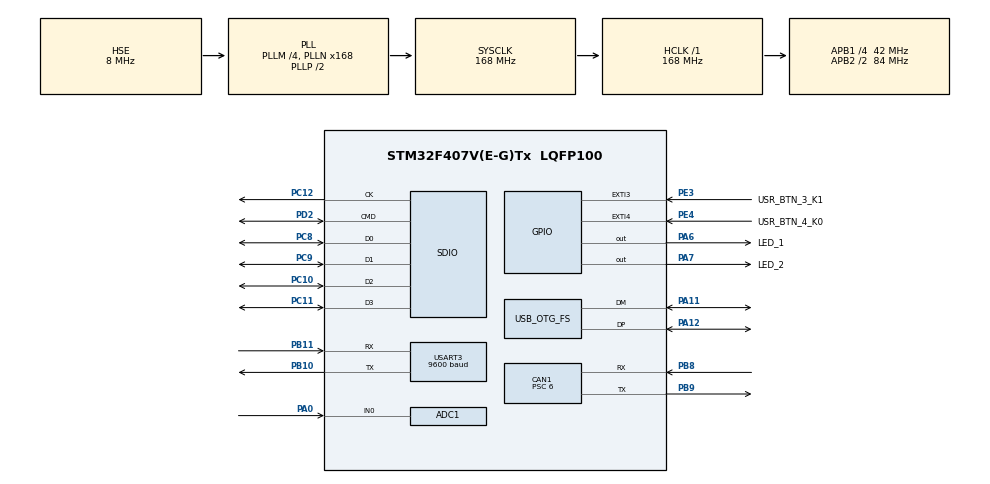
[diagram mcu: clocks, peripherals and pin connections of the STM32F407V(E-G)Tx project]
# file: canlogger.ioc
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ADC1.Channel-0\#ChannelRegularConversion=ADC_CHANNEL_0
ADC1.NbrOfConversionFlag=1
ADC1.Rank-0\#ChannelRegularConversion=1
ADC1.SamplingTime-0\#ChannelRegularConversion=ADC_SAMPLETIME_3CYCLES
ADC1.master=1
CAN1.BS1=CAN_BS1_6TQ
CAN1.BS2=CAN_BS2_7TQ
CAN1.CalculateBaudRate=500000
CAN1.CalculateTimeBit=2000
CAN1.CalculateTimeQuantum=142.85714285714286
CAN1.Prescaler=6
Dma.Request0=SDIO_RX
Dma.Request1=SDIO_TX
Dma.Request2=USART3_RX
Dma.SDIO_RX.0.Direction=DMA_PERIPH_TO_MEMORY
Dma.SDIO_RX.0.FIFOMode=DMA_FIFOMODE_ENABLE
Dma.SDIO_RX.0.FIFOThreshold=DMA_FIFO_THRESHOLD_FULL
Dma.SDIO_RX.0.Instance=DMA2_Stream3
Dma.SDIO_RX.0.MemBurst=DMA_MBURST_INC4
Dma.SDIO_RX.0.MemDataAlignment=DMA_MDATAALIGN_WORD
Dma.SDIO_RX.0.MemInc=DMA_MINC_ENABLE
Dma.SDIO_RX.0.Mode=DMA_PFCTRL
Dma.SDIO_RX.0.PeriphBurst=DMA_PBURST_INC4
Dma.SDIO_RX.0.PeriphDataAlignment=DMA_PDATAALIGN_WORD
Dma.SDIO_RX.0.PeriphInc=DMA_PINC_DISABLE
Dma.SDIO_RX.0.Priority=DMA_PRIORITY_VERY_HIGH
Dma.SDIO_TX.1.Direction=DMA_MEMORY_TO_PERIPH
Dma.SDIO_TX.1.FIFOMode=DMA_FIFOMODE_ENABLE
Dma.SDIO_TX.1.FIFOThreshold=DMA_FIFO_THRESHOLD_FULL
Dma.SDIO_TX.1.Instance=DMA2_Stream6
Dma.SDIO_TX.1.MemBurst=DMA_MBURST_INC4
Dma.SDIO_TX.1.MemDataAlignment=DMA_MDATAALIGN_WORD
Dma.SDIO_TX.1.MemInc=DMA_MINC_ENABLE
Dma.SDIO_TX.1.Mode=DMA_PFCTRL
Dma.SDIO_TX.1.PeriphBurst=DMA_PBURST_INC4
Dma.SDIO_TX.1.PeriphDataAlignment=DMA_PDATAALIGN_WORD
Dma.SDIO_TX.1.PeriphInc=DMA_PINC_DISABLE
Dma.SDIO_TX.1.Priority=DMA_PRIORITY_VERY_HIGH
Dma.USART3_RX.2.Direction=DMA_PERIPH_TO_MEMORY
Dma.USART3_RX.2.FIFOMode=DMA_FIFOMODE_DISABLE
Dma.USART3_RX.2.Instance=DMA1_Stream1
Dma.USART3_RX.2.MemDataAlignment=DMA_MDATAALIGN_BYTE
Dma.USART3_RX.2.MemInc=DMA_MINC_ENABLE
Dma.USART3_RX.2.Mode=DMA_CIRCULAR
Dma.USART3_RX.2.PeriphDataAlignment=DMA_PDATAALIGN_BYTE
Dma.USART3_RX.2.PeriphInc=DMA_PINC_DISABLE
Dma.USART3_RX.2.Priority=DMA_PRIORITY_LOW
FATFS.USE_DMA_CODE_SD=1
FATFS._USE_EXPAND=1
FATFS._USE_LFN=2
FREERTOS.Tasks01=defaultTask,24,512,StartDefaultTask,Default,NULL,Dynamic,NULL,NULL
FREERTOS.configTOTAL_HEAP_SIZE=16384
Mcu.Family=STM32F4
Mcu.Name=STM32F407V(E-G)Tx
Mcu.Package=LQFP100
NVIC.CAN1_RX0_IRQn=true\:5\:0\:false\:true\:true\:1\:true\:true\:true\:true
NVIC.DMA1_Stream1_IRQn=true\:7\:0\:true\:false\:true\:true\:false\:true\:true
NVIC.DMA2_Stream3_IRQn=true\:6\:0\:true\:false\:true\:true\:false\:true\:true
NVIC.DMA2_Stream6_IRQn=true\:6\:0\:true\:false\:true\:true\:false\:true\:true
NVIC.EXTI3_IRQn=true\:5\:0\:false\:false\:true\:true\:true\:true\:true
NVIC.EXTI4_IRQn=true\:5\:0\:false\:false\:true\:true\:true\:true\:true
NVIC.OTG_FS_IRQn=true\:7\:0\:true\:false\:true\:true\:false\:true\:true
NVIC.PriorityGroup=NVIC_PRIORITYGROUP_4
NVIC.SDIO_IRQn=true\:8\:0\:true\:false\:true\:true\:true\:true\:true
NVIC.TIM6_DAC_IRQn=true\:15\:0\:false\:false\:true\:false\:false\:true\:true
NVIC.TimeBase=TIM6_DAC_IRQn
NVIC.TimeBaseIP=TIM6
NVIC.USART3_IRQn=true\:6\:0\:true\:false\:true\:true\:true\:true\:true
PA0-WKUP.Signal=ADCx_IN0
PA11.Mode=Device_Only
PA11.Signal=USB_OTG_FS_DM
PA12.Mode=Device_Only
PA12.Signal=USB_OTG_FS_DP
PA13.Mode=Serial_Wire
PA13.Signal=SYS_JTMS-SWDIO
PA14.Mode=Serial_Wire
PA14.Signal=SYS_JTCK-SWCLK
PA6.GPIO_Label=LED_1
PA6.GPIO_PuPd=GPIO_PULLUP
PA6.Signal=GPIO_Output
PA7.GPIO_Label=LED_2
PA7.GPIO_PuPd=GPIO_PULLUP
PA7.Signal=GPIO_Output
PB10.Mode=Asynchronous
PB10.Signal=USART3_TX
PB11.Mode=Asynchronous
PB11.Signal=USART3_RX
PB8.Mode=CAN_Activate
PB8.Signal=CAN1_RX
PB9.Mode=CAN_Activate
PB9.Signal=CAN1_TX
PC10.GPIO_PuPd=GPIO_PULLUP
PC10.Mode=SD_4_bits_Wide_bus
PC10.Signal=SDIO_D2
PC11.GPIO_PuPd=GPIO_PULLUP
PC11.Mode=SD_4_bits_Wide_bus
PC11.Signal=SDIO_D3
PC12.GPIO_PuPd=GPIO_PULLUP
PC12.Mode=SD_4_bits_Wide_bus
PC12.Signal=SDIO_CK
PC14-OSC32_IN.Mode=LSE-External-Oscillator
PC14-OSC32_IN.Signal=RCC_OSC32_IN
PC15-OSC32_OUT.Mode=LSE-External-Oscillator
PC15-OSC32_OUT.Signal=RCC_OSC32_OUT
PC8.GPIO_PuPd=GPIO_PULLUP
PC8.Mode=SD_4_bits_Wide_bus
PC8.Signal=SDIO_D0
PC9.GPIO_PuPd=GPIO_PULLUP
PC9.Mode=SD_4_bits_Wide_bus
PC9.Signal=SDIO_D1
PD2.GPIO_PuPd=GPIO_PULLUP
PD2.Mode=SD_4_bits_Wide_bus
PD2.Signal=SDIO_CMD
PE3.GPIO_Label=USR_BTN_3_K1
PE3.GPIO_ModeDefaultEXTI=GPIO_MODE_IT_RISING
PE3.GPIO_PuPd=GPIO_PULLUP
PE3.Signal=GPXTI3
PE4.GPIO_Label=USR_BTN_4_K0
PE4.GPIO_ModeDefaultEXTI=GPIO_MODE_IT_FALLING
PE4.GPIO_PuPd=GPIO_PULLUP
PE4.Signal=GPXTI4
PH0-OSC_IN.Mode=HSE-External-Oscillator
PH0-OSC_IN.Signal=RCC_OSC_IN
PH1-OSC_OUT.Mode=HSE-External-Oscillator
PH1-OSC_OUT.Signal=RCC_OSC_OUT
ProjectManager.HeapSize=0x200
ProjectManager.StackSize=0x400
ProjectManager.TargetToolchain=STM32CubeIDE
RCC.48MHZClocksFreq_Value=48000000
RCC.AHBFreq_Value=168000000
RCC.APB1CLKDivider=RCC_HCLK_DIV4
RCC.APB1Freq_Value=42000000
RCC.APB1TimFreq_Value=84000000
RCC.APB2CLKDivider=RCC_HCLK_DIV2
RCC.APB2Freq_Value=84000000
RCC.APB2TimFreq_Value=168000000
RCC.CortexFreq_Value=168000000
RCC.HCLKFreq_Value=168000000
RCC.HSE_VALUE=8000000
RCC.HSI_VALUE=16000000
RCC.PLLM=4
RCC.PLLN=168
RCC.PLLQ=7
RCC.RCC_RTC_Clock_Source=RCC_RTCCLKSOURCE_LSE
RCC.RCC_RTC_Clock_SourceVirtual=RCC_RTCCLKSOURCE_LSE
RCC.SYSCLKFreq_VALUE=168000000
RCC.SYSCLKSource=RCC_SYSCLKSOURCE_PLLCLK
RCC.VCOOutputFreq_Value=336000000
RTC.Date=17
RTC.Minutes=18
RTC.Month=RTC_MONTH_JULY
RTC.WeekDay=RTC_WEEKDAY_WEDNESDAY
RTC.Year=24
SDIO.ClockDiv=4
SH.ADCx_IN0.0=ADC1_IN0,IN0
USART3.BaudRate=9600
USART3.VirtualMode=VM_ASYNC
USB_DEVICE.CLASS_NAME_FS=CDC
USB_DEVICE.MANUFACTURER_STRING-CDC_FS=Hydra
USB_DEVICE.PRODUCT_STRING_CDC_FS=CANLogger Debug Port
USB_DEVICE.VirtualMode-CDC_FS=Cdc
USB_DEVICE.VirtualModeFS=Cdc_FS
USB_OTG_FS.VirtualMode=Device_Only
VP_FATFS_VS_SDIO.Mode=SDIO
VP_FREERTOS_VS_CMSIS_V2.Mode=CMSIS_V2
VP_RTC_VS_RTC_Activate.Mode=RTC_Enabled
VP_RTC_VS_RTC_Calendar.Mode=RTC_Calendar
VP_SYS_VS_tim6.Mode=TIM6
VP_USB_DEVICE_VS_USB_DEVICE_CDC_FS.Mode=CDC_FS
board=custom

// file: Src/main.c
/* USER CODE BEGIN Header */
/**
  ******************************************************************************
  * @file           : main.c
  * @brief          : Main program body
  ******************************************************************************
  * @attention
  *
  * Copyright (c) 2024 STMicroelectronics.
  * All rights reserved.
  *
  * This software is licensed under terms that can be found in the LICENSE file
  * in the root directory of this software component.
  * If no LICENSE file comes with this software, it is provided AS-IS.
  *
  ******************************************************************************
  */
/* USER CODE END Header */
#include "main.h"
#include "cmsis_os.h"
#include "fatfs.h"
#include "usb_device.h"

/* USER CODE BEGIN Includes */
#include <string.h>
#include "log_writer.h"
#include "can_drv.h"
#include "ring_buf.h"
#include "can_map.h"
#include "debug_out.h"
#include "demo_gen.h"
#include "demo_can.h"
#include "vin_sense.h"
#include "bkp_log.h"
#include "gps_drv.h"
/* USER CODE END Includes */

/* USER CODE BEGIN PD */
#define VIN_SENSE_CHECK_MS    100   /* poll interval */
/* USER CODE END PD */

ADC_HandleTypeDef hadc1;

CAN_HandleTypeDef hcan1;

RTC_HandleTypeDef hrtc;

SD_HandleTypeDef hsd;
DMA_HandleTypeDef hdma_sdio_rx;
DMA_HandleTypeDef hdma_sdio_tx;

UART_HandleTypeDef huart3;
DMA_HandleTypeDef hdma_usart3_rx;

/* Definitions for defaultTask */
osThreadId_t defaultTaskHandle;
const osThreadAttr_t defaultTask_attributes = {
  .name = "defaultTask",
  .stack_size = 512 * 4,
  .priority = (osPriority_t) osPriorityNormal,
};
/* USER CODE BEGIN PV */
volatile uint8_t lw_shutdown = 0;
volatile uint8_t sd_stopped = 0;  // set by task_sd after lw_stop completes
volatile uint8_t vin_triggered_shutdown = 0;  // 1 = VIN outage (auto-resume), 0 = CDC `stop`
// Marker request: 0=none, 1=K0 press ("btn"), 2=CDC `mark` (marker_cdc_text).
// Set by EXTI ISR or CDC task, consumed by task_sd.
volatile uint8_t marker_request = 0;
char marker_cdc_text[50];  // filled by CDC before setting marker_request=2
static ring_Buffer can_rx_buf;
static cfg_Config config __attribute__((section(".ccmram")));
static can_FieldValues field_values;
static uint32_t can_frames_processed = 0;
volatile int init_ok = 0;
// Demo mode helper arrays (extracted from config for demo_generate)
static uint8_t demo_field_types[CFG_MAX_FIELDS];
static float demo_field_scales[CFG_MAX_FIELDS];
static float demo_field_offsets[CFG_MAX_FIELDS];

// FreeRTOS: shadow mutex guards field_values between task_producer and task_sd
osMutexId_t shadow_mutex;
static const osMutexAttr_t shadow_mutex_attr = {
  .name = "shadowMutex"
};

// FreeRTOS: SD writer task
osThreadId_t sdTaskHandle;
static const osThreadAttr_t sdTask_attributes = {
  .name = "sdTask",
  .stack_size = 4096,
  .priority = (osPriority_t) osPriorityBelowNormal,
};
void SdTaskEntry(void *argument);
/* USER CODE END PV */

void SystemClock_Config(void);
static void MX_GPIO_Init(void);
static void MX_DMA_Init(void);
static void MX_CAN1_Init(void);
static void MX_SDIO_SD_Init(void);
static void MX_RTC_Init(void);
static void MX_ADC1_Init(void);
static void MX_USART3_UART_Init(void);
void StartDefaultTask(void *argument);

static void MX_NVIC_Init(void);

/* USER CODE BEGIN 0 */
void HAL_GPIO_EXTI_Callback(uint16_t GPIO_Pin) {
  if (GPIO_Pin == USR_BTN_3_K1_Pin) {
    lw_shutdown = 1;
    HAL_GPIO_WritePin(LED_1_GPIO_Port, LED_1_Pin, GPIO_PIN_SET); // D2 off (active-low)
  } else if (GPIO_Pin == USR_BTN_4_K0_Pin) {
    // Debounce: any edge (including release-bounce that also trips FALLING)
    // extends the blackout. Window must exceed typical hold + release time.
    static uint32_t k0_last_tick = 0;
    uint32_t now = HAL_GetTick();
    uint32_t since = now - k0_last_tick;
    k0_last_tick = now;
    if (since < 300) return;
    if (marker_request == 0) marker_request = 1;  // drop if SD hasn't consumed yet
  }
}
/* USER CODE END 0 */

int main(void)
{

  /* MCU Configuration--------------------------------------------------------*/

  /* Reset of all peripherals, Initializes the Flash interface and the Systick. */
  HAL_Init();

  /* Configure the system clock */
  SystemClock_Config();

  /* Initialize all configured peripherals */
  MX_GPIO_Init();
  MX_DMA_Init();
  MX_CAN1_Init();
  MX_SDIO_SD_Init();
  MX_FATFS_Init();
  MX_RTC_Init();
  MX_ADC1_Init();
  MX_USART3_UART_Init();

  /* Initialize interrupts */
  MX_NVIC_Init();
  /* USER CODE BEGIN 2 */
  bkp_log_init();  // increment session counter in BKP_DR1
  ring_buf_init(&can_rx_buf);
  /* SD/FatFS init moved to StartDefaultTask — requires scheduler running
   * (RTOS sd_diskio template checks osKernelGetState before BSP_SD_Init). */
  /* USER CODE END 2 */

  /* Init scheduler */
  osKernelInitialize();

  /* USER CODE BEGIN RTOS_MUTEX */
  shadow_mutex = osMutexNew(&shadow_mutex_attr);
  /* USER CODE END RTOS_MUTEX */

  /* Create the thread(s) */
  /* creation of defaultTask */
  defaultTaskHandle = osThreadNew(StartDefaultTask, NULL, &defaultTask_attributes);

  /* USER CODE BEGIN RTOS_THREADS */
  sdTaskHandle = osThreadNew(SdTaskEntry, NULL, &sdTask_attributes);
  /* USER CODE END RTOS_THREADS */

  /* Start scheduler */
  osKernelStart();

  /* We should never get here as control is now taken by the scheduler */

  /* Infinite loop */
  /* USER CODE BEGIN WHILE */
  while (1)
  {
    /* Dead code — scheduler never returns. Kept for CubeMX marker compliance. */
    /* USER CODE END WHILE */

  }
}

void SystemClock_Config(void)
{
  RCC_OscInitTypeDef RCC_OscInitStruct = {0};
  RCC_ClkInitTypeDef RCC_ClkInitStruct = {0};

  /** Configure the main internal regulator output voltage
  */
  __HAL_RCC_PWR_CLK_ENABLE();
  __HAL_PWR_VOLTAGESCALING_CONFIG(PWR_REGULATOR_VOLTAGE_SCALE1);

  /** Initializes the RCC Oscillators according to the specified parameters
  * in the RCC_OscInitTypeDef structure.
  */
  RCC_OscInitStruct.OscillatorType = RCC_OSCILLATORTYPE_HSE|RCC_OSCILLATORTYPE_LSE;
  RCC_OscInitStruct.HSEState = RCC_HSE_ON;
  RCC_OscInitStruct.LSEState = RCC_LSE_ON;
  RCC_OscInitStruct.PLL.PLLState = RCC_PLL_ON;
  RCC_OscInitStruct.PLL.PLLSource = RCC_PLLSOURCE_HSE;
  RCC_OscInitStruct.PLL.PLLM = 4;
  RCC_OscInitStruct.PLL.PLLN = 168;
  RCC_OscInitStruct.PLL.PLLP = RCC_PLLP_DIV2;
  RCC_OscInitStruct.PLL.PLLQ = 7;
  if (HAL_RCC_OscConfig(&RCC_OscInitStruct) != HAL_OK)
  {
    Error_Handler();
  }

  /** Initializes the CPU, AHB and APB buses clocks
  */
  RCC_ClkInitStruct.ClockType = RCC_CLOCKTYPE_HCLK|RCC_CLOCKTYPE_SYSCLK
                              |RCC_CLOCKTYPE_PCLK1|RCC_CLOCKTYPE_PCLK2;
  RCC_ClkInitStruct.SYSCLKSource = RCC_SYSCLKSOURCE_PLLCLK;
  RCC_ClkInitStruct.AHBCLKDivider = RCC_SYSCLK_DIV1;
  RCC_ClkInitStruct.APB1CLKDivider = RCC_HCLK_DIV4;
  RCC_ClkInitStruct.APB2CLKDivider = RCC_HCLK_DIV2;

  if (HAL_RCC_ClockConfig(&RCC_ClkInitStruct, FLASH_LATENCY_5) != HAL_OK)
  {
    Error_Handler();
  }
}

/**
  * @brief NVIC Configuration.
  * @retval None
  */
static void MX_NVIC_Init(void)
{
  /* CAN1_RX0_IRQn interrupt configuration */
  HAL_NVIC_SetPriority(CAN1_RX0_IRQn, 5, 0);
  HAL_NVIC_EnableIRQ(CAN1_RX0_IRQn);
}

static void MX_ADC1_Init(void)
{

  ADC_ChannelConfTypeDef sConfig = {0};

  /** Configure the global features of the ADC (Clock, Resolution, Data Alignment and number of conversion)
  */
  hadc1.Instance = ADC1;
  hadc1.Init.ClockPrescaler = ADC_CLOCK_SYNC_PCLK_DIV4;
  hadc1.Init.Resolution = ADC_RESOLUTION_12B;
  hadc1.Init.ScanConvMode = DISABLE;
  hadc1.Init.ContinuousConvMode = DISABLE;
  hadc1.Init.DiscontinuousConvMode = DISABLE;
  hadc1.Init.ExternalTrigConvEdge = ADC_EXTERNALTRIGCONVEDGE_NONE;
  hadc1.Init.ExternalTrigConv = ADC_SOFTWARE_START;
  hadc1.Init.DataAlign = ADC_DATAALIGN_RIGHT;
  hadc1.Init.NbrOfConversion = 1;
  hadc1.Init.DMAContinuousRequests = DISABLE;
  hadc1.Init.EOCSelection = ADC_EOC_SINGLE_CONV;
  if (HAL_ADC_Init(&hadc1) != HAL_OK)
  {
    Error_Handler();
  }

  /** Configure for the selected ADC regular channel its corresponding rank in the sequencer and its sample time.
  */
  sConfig.Channel = ADC_CHANNEL_0;
  sConfig.Rank = 1;
  sConfig.SamplingTime = ADC_SAMPLETIME_3CYCLES;
  if (HAL_ADC_ConfigChannel(&hadc1, &sConfig) != HAL_OK)
  {
    Error_Handler();
  }

}

static void MX_CAN1_Init(void)
{

  hcan1.Instance = CAN1;
  hcan1.Init.Prescaler = 6;
  hcan1.Init.Mode = CAN_MODE_NORMAL;
  hcan1.Init.SyncJumpWidth = CAN_SJW_1TQ;
  hcan1.Init.TimeSeg1 = CAN_BS1_6TQ;
  hcan1.Init.TimeSeg2 = CAN_BS2_7TQ;
  hcan1.Init.TimeTriggeredMode = DISABLE;
  hcan1.Init.AutoBusOff = DISABLE;
  hcan1.Init.AutoWakeUp = DISABLE;
  hcan1.Init.AutoRetransmission = DISABLE;
  hcan1.Init.ReceiveFifoLocked = DISABLE;
  hcan1.Init.TransmitFifoPriority = DISABLE;
  if (HAL_CAN_Init(&hcan1) != HAL_OK)
  {
    Error_Handler();
  }

}

static void MX_RTC_Init(void)
{

  RTC_TimeTypeDef sTime = {0};
  RTC_DateTypeDef sDate = {0};

  /** Initialize RTC Only
  */
  hrtc.Instance = RTC;
  hrtc.Init.HourFormat = RTC_HOURFORMAT_24;
  hrtc.Init.AsynchPrediv = 127;
  hrtc.Init.SynchPrediv = 255;
  hrtc.Init.OutPut = RTC_OUTPUT_DISABLE;
  hrtc.Init.OutPutPolarity = RTC_OUTPUT_POLARITY_HIGH;
  hrtc.Init.OutPutType = RTC_OUTPUT_TYPE_OPENDRAIN;
  if (HAL_RTC_Init(&hrtc) != HAL_OK)
  {
    Error_Handler();
  }

  /* USER CODE BEGIN Check_RTC_BKUP */
  // RTC_ISR_INITS is hw-set on first successful SetTime and cleared only on
  // backup domain reset (VBAT loss). Survives flash/reset — no bootstrap on
  // warm path. Time is set manually via CDC `settime` or GPS when available.
  if (__HAL_RTC_IS_CALENDAR_INITIALIZED(&hrtc)) {
    return;
  }
  /* USER CODE END Check_RTC_BKUP */

  /** Initialize RTC and set the Time and Date
  */
  sTime.Hours = 0x0;
  sTime.Minutes = 0x18;
  sTime.Seconds = 0x0;
  sTime.DayLightSaving = RTC_DAYLIGHTSAVING_NONE;
  sTime.StoreOperation = RTC_STOREOPERATION_RESET;
  if (HAL_RTC_SetTime(&hrtc, &sTime, RTC_FORMAT_BCD) != HAL_OK)
  {
    Error_Handler();
  }
  sDate.WeekDay = RTC_WEEKDAY_WEDNESDAY;
  sDate.Month = RTC_MONTH_JULY;
  sDate.Date = 0x17;
  sDate.Year = 0x24;

  if (HAL_RTC_SetDate(&hrtc, &sDate, RTC_FORMAT_BCD) != HAL_OK)
  {
    Error_Handler();
  }
  /* USER CODE BEGIN RTC_Init 2 */
  // Reached only on fresh chip or VBAT loss (INITS flag not set).
  // Bootstrap with neutral date; user sets real time via CDC `settime`.
  sTime.Hours = 0x00;
  sTime.Minutes = 0x00;
  sTime.Seconds = 0x00;
  sTime.DayLightSaving = RTC_DAYLIGHTSAVING_NONE;
  sTime.StoreOperation = RTC_STOREOPERATION_RESET;
  if (HAL_RTC_SetTime(&hrtc, &sTime, RTC_FORMAT_BCD) != HAL_OK) {
    Error_Handler();
  }
  sDate.WeekDay = RTC_WEEKDAY_THURSDAY;
  sDate.Month = RTC_MONTH_JANUARY;
  sDate.Date = 0x01;
  sDate.Year = 0x26;  // 2026
  if (HAL_RTC_SetDate(&hrtc, &sDate, RTC_FORMAT_BCD) != HAL_OK) {
    Error_Handler();
  }
  /* USER CODE END RTC_Init 2 */

}

static void MX_SDIO_SD_Init(void)
{

  hsd.Instance = SDIO;
  hsd.Init.ClockEdge = SDIO_CLOCK_EDGE_RISING;
  hsd.Init.ClockBypass = SDIO_CLOCK_BYPASS_DISABLE;
  hsd.Init.ClockPowerSave = SDIO_CLOCK_POWER_SAVE_DISABLE;
  hsd.Init.BusWide = SDIO_BUS_WIDE_1B;
  hsd.Init.HardwareFlowControl = SDIO_HARDWARE_FLOW_CONTROL_DISABLE;
  hsd.Init.ClockDiv = 4;

}

static void MX_USART3_UART_Init(void)
{

  huart3.Instance = USART3;
  huart3.Init.BaudRate = 9600;
  huart3.Init.WordLength = UART_WORDLENGTH_8B;
  huart3.Init.StopBits = UART_STOPBITS_1;
  huart3.Init.Parity = UART_PARITY_NONE;
  huart3.Init.Mode = UART_MODE_TX_RX;
  huart3.Init.HwFlowCtl = UART_HWCONTROL_NONE;
  huart3.Init.OverSampling = UART_OVERSAMPLING_16;
  if (HAL_UART_Init(&huart3) != HAL_OK)
  {
    Error_Handler();
  }

}

static void MX_DMA_Init(void)
{

  /* DMA controller clock enable */
  __HAL_RCC_DMA2_CLK_ENABLE();
  __HAL_RCC_DMA1_CLK_ENABLE();

  /* DMA interrupt init */
  /* DMA1_Stream1_IRQn interrupt configuration */
  HAL_NVIC_SetPriority(DMA1_Stream1_IRQn, 7, 0);
  HAL_NVIC_EnableIRQ(DMA1_Stream1_IRQn);
  /* DMA2_Stream3_IRQn interrupt configuration */
  HAL_NVIC_SetPriority(DMA2_Stream3_IRQn, 6, 0);
  HAL_NVIC_EnableIRQ(DMA2_Stream3_IRQn);
  /* DMA2_Stream6_IRQn interrupt configuration */
  HAL_NVIC_SetPriority(DMA2_Stream6_IRQn, 6, 0);
  HAL_NVIC_EnableIRQ(DMA2_Stream6_IRQn);

}

static void MX_GPIO_Init(void)
{
  GPIO_InitTypeDef GPIO_InitStruct = {0};

  /* GPIO Ports Clock Enable */
  __HAL_RCC_GPIOE_CLK_ENABLE();
  __HAL_RCC_GPIOC_CLK_ENABLE();
  __HAL_RCC_GPIOH_CLK_ENABLE();
  __HAL_RCC_GPIOA_CLK_ENABLE();
  __HAL_RCC_GPIOB_CLK_ENABLE();
  __HAL_RCC_GPIOD_CLK_ENABLE();

  /*Configure GPIO pin Output Level */
  HAL_GPIO_WritePin(GPIOA, LED_1_Pin|LED_2_Pin, GPIO_PIN_RESET);

  /*Configure GPIO pin : USR_BTN_3_K1_Pin */
  GPIO_InitStruct.Pin = USR_BTN_3_K1_Pin;
  GPIO_InitStruct.Mode = GPIO_MODE_IT_RISING;
  GPIO_InitStruct.Pull = GPIO_PULLUP;
  HAL_GPIO_Init(USR_BTN_3_K1_GPIO_Port, &GPIO_InitStruct);

  /*Configure GPIO pin : USR_BTN_4_K0_Pin */
  GPIO_InitStruct.Pin = USR_BTN_4_K0_Pin;
  GPIO_InitStruct.Mode = GPIO_MODE_IT_FALLING;
  GPIO_InitStruct.Pull = GPIO_PULLUP;
  HAL_GPIO_Init(USR_BTN_4_K0_GPIO_Port, &GPIO_InitStruct);

  /*Configure GPIO pins : LED_1_Pin LED_2_Pin */
  GPIO_InitStruct.Pin = LED_1_Pin|LED_2_Pin;
  GPIO_InitStruct.Mode = GPIO_MODE_OUTPUT_PP;
  GPIO_InitStruct.Pull = GPIO_PULLUP;
  GPIO_InitStruct.Speed = GPIO_SPEED_FREQ_LOW;
  HAL_GPIO_Init(GPIOA, &GPIO_InitStruct);

  /* EXTI interrupt init*/
  HAL_NVIC_SetPriority(EXTI3_IRQn, 5, 0);
  HAL_NVIC_EnableIRQ(EXTI3_IRQn);

  HAL_NVIC_SetPriority(EXTI4_IRQn, 5, 0);
  HAL_NVIC_EnableIRQ(EXTI4_IRQn);

}

/* USER CODE BEGIN 4 */
void SdTaskEntry(void *argument)
{
  (void)argument;
  static uint8_t snapshot[CAN_MAP_MAX_RECORD_SIZE];
  uint32_t next_wake = 0;

  while (!lw_shutdown) {
    if (!init_ok || lw_is_error()) {
      osDelay(100);
      next_wake = 0;  // reset periodic base after wait
      continue;
    }

    // Periodic timing via osDelayUntil — drift-free
    if (next_wake == 0) {
      next_wake = osKernelGetTickCount();
    }
    next_wake += config.log_interval_ms;
    osDelayUntil(next_wake);

    if (lw_shutdown) break;

    // Snapshot shadow buffer under mutex
    osMutexAcquire(shadow_mutex, osWaitForever);
    size_t rec_len = field_values.record_length;
    memcpy(snapshot, field_values.values, rec_len);
    osMutexRelease(shadow_mutex);

    // Marker drained before snapshot so it lands at the chronologically
    // correct spot between data blocks.
    if (marker_request) {
      const char* msg = (marker_request == 2) ? marker_cdc_text : "btn";
      lw_write_marker(msg);
      marker_request = 0;
    }

    lw_write_snapshot(snapshot, rec_len);
  }

  // Graceful shutdown: flush and close
  if (init_ok) lw_stop();

  // Signal task_producer that SD is fully flushed — safe to reset MCU now.
  sd_stopped = 1;
  osThreadExit();
}
/* USER CODE END 4 */

void StartDefaultTask(void *argument)
{
  /* init code for USB_DEVICE */
  MX_USB_DEVICE_Init();
  /* USER CODE BEGIN 5 */
  // Init SD, read config, write MLG header (must run after scheduler start —
  // RTOS sd_diskio template requires osKernelRunning for BSP_SD_Init)
  init_ok = (lw_init(&config, &field_values) == 0);

  gps_drv_init();

  // Extract field metadata for demo generator
  if (init_ok && config.demo) {
    for (int i = 0; i < config.num_fields; i++) {
      demo_field_types[i] = config.fields[i].type;
      demo_field_scales[i] = config.fields[i].scale;
      demo_field_offsets[i] = config.fields[i].offset;
    }
  }

  if (init_ok) {
    if (config.num_can_ids > 0) {
      can_drv_init(&can_rx_buf, &config);
      can_drv_start();
    }
  } else {
    config.can_bitrate = 500000;
    config.num_can_ids = 0;
    can_drv_init(&can_rx_buf, &config);
    can_drv_start();
  }

  /* task_producer: drain CAN ring buffer, update shadow, handle debug CLI */
  for(;;)
  {
    if (lw_shutdown) {
      can_drv_stop();
      // Wait for task_sd to flush SD before MCU reset — resetting mid-write
      // corrupts the file. Cap wait at 2s: if lw_stop wedges (card removed,
      // HAL stuck), reset anyway so we don't drain the supercap forever.
      uint32_t deadline = HAL_GetTick() + 2000;
      while (!sd_stopped && HAL_GetTick() < deadline) osDelay(10);

      // CDC `stop` (vin_triggered_shutdown=0) just halts — user wants to
      // flash or remove the card. VIN-triggered shutdown waits for power
      // to return, then resets so logging auto-resumes.
      if (!vin_triggered_shutdown) osThreadExit();

      int high_count = 0;
      for (;;) {
        osDelay(VIN_SENSE_CHECK_MS);
        vin_sense_poll();
        if (vin_sense_mv >= VIN_SENSE_THRESHOLD_MV) {
          if (++high_count >= 3) NVIC_SystemReset();
        } else {
          high_count = 0;
        }
      }
    }

    // Pack demo data into CAN frames (if demo + ring buf mode)
    if (init_ok && config.demo && config.demo_gen.use_ring_buf) {
      demo_pack_can_frames(&config, &can_rx_buf, HAL_GetTick());
    }

    // Drain GPS DMA outside shadow_mutex: gps_drv_poll() touches only
    // task_producer-local state, and when `gps_raw` is ON it also does
    // per-byte putchar() to CDC — holding shadow_mutex through that stalls
    // task_sd's field_values snapshot for the duration of the USB TX.
    gps_drv_poll();

    // Drain CAN ring buffer → update shadow under mutex
    {
      can_Frame frame;
      osMutexAcquire(shadow_mutex, osWaitForever);
      if (init_ok && config.gps_enabled) {
        can_map_update_gps(&field_values, &config, gps_drv_state());
      }
      while (ring_buf_pop(&can_rx_buf, &frame) == 0) {
        if (init_ok) can_map_process(&field_values, &config, &frame);
        can_frames_processed++;
        debug_out_set_can(frame.id, frame.data, frame.dlc);
      }
      // Direct demo for fields without CAN IDs (legacy path)
      if (init_ok && config.demo && !config.demo_gen.use_ring_buf) {
        demo_generate(&config.demo_gen,
                      field_values.values, field_values.record_length,
                      demo_field_types, demo_field_scales, demo_field_offsets,
                      config.num_fields, HAL_GetTick());
        field_values.updated = 1;
      }
      osMutexRelease(shadow_mutex);
    }

    // One-shot RTC sync on first GPS fix with date+time. `gps_rtc_synced`
    // latches for the life of this boot so the loop doesn't keep re-setting
    // the RTC every iteration. CDC `settime` still works as a manual override.
    {
      static uint8_t gps_rtc_synced = 0;
      if (!gps_rtc_synced) {
        const gps_State* gs = gps_drv_state();
        if (gs->has_fix && gs->has_date && gs->has_time) {
          #define BCD(v) (uint8_t)(((v) / 10) << 4 | ((v) % 10))
          RTC_TimeTypeDef t = {
            .Hours = BCD(gs->hour), .Minutes = BCD(gs->minute), .Seconds = BCD(gs->second),
            .DayLightSaving = RTC_DAYLIGHTSAVING_NONE,
            .StoreOperation = RTC_STOREOPERATION_RESET,
          };
          RTC_DateTypeDef d = {
            .WeekDay = RTC_WEEKDAY_MONDAY,
            .Month = BCD(gs->month), .Date = BCD(gs->day),
            .Year = BCD(gs->year % 100),
          };
          #undef BCD
          if (HAL_RTC_SetTime(&hrtc, &t, RTC_FORMAT_BCD) == HAL_OK &&
              HAL_RTC_SetDate(&hrtc, &d, RTC_FORMAT_BCD) == HAL_OK) {
            gps_rtc_synced = 1;
          }
        }
      }
    }

    debug_out_tick(can_frames_processed, config.num_fields, init_ok);
    debug_cmd_poll(&config, init_ok, &can_rx_buf);
    lw_update_leds();

    // VIN_SENSE: check every VIN_SENSE_CHECK_MS
    {
      static uint32_t next_vin_check = 0;
      uint32_t now = HAL_GetTick();
      if (now >= next_vin_check) {
        vin_sense_poll();
        next_vin_check = now + VIN_SENSE_CHECK_MS;
      }
    }

    osDelay(1);
  }
  /* USER CODE END 5 */
}

void HAL_TIM_PeriodElapsedCallback(TIM_HandleTypeDef *htim)
{
  if (htim->Instance == TIM6)
  {
    HAL_IncTick();
  }
}

void Error_Handler(void)
{
  __disable_irq();
  while (1)
  {
  }
}
